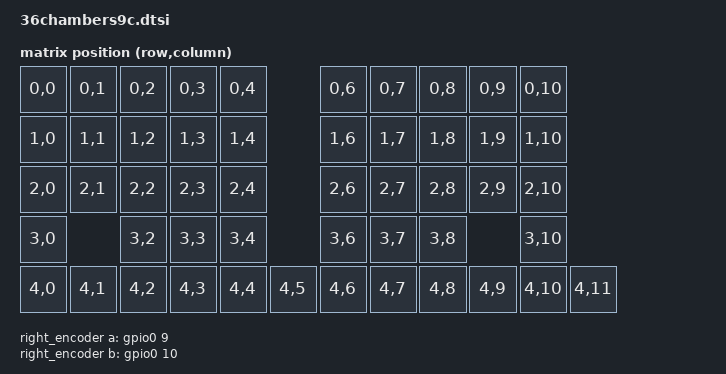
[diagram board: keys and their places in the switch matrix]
/*
 * Copyright (c) 2020 The ZMK Contributors
 *
 * SPDX-License-Identifier: MIT
 */

#include <dt-bindings/zmk/matrix_transform.h>

/ {
	chosen {
		zmk,kscan = &kscan0;
		zmk,matrix_transform = &default_transform;
	};

	default_transform: keymap_transform_0 {
		compatible = "zmk,matrix-transform";
		columns = <12>;
        
		rows = <5>;
// | SW1  | SW2  | SW3  | SW4  | SW5  |   | SW5  | SW4  | SW3  | SW2  | SW1  |
// | SW6  | SW7  | SW8  | SW9  | SW10 |   | SW10 | SW9  | SW8  | SW7  | SW6  |
// | SW11 | SW12 | SW13 | SW14 | SW15 |   | SW15 | SW14 | SW13 | SW12 | SW11 |
// | SW16 |      |      | SW17 | SW18 |   | SW19 | SW19 | SW18 |      | SW16 |
// | U3A  | U3CT | U3C  | U3B  | U3D  |   | SW24 | SW23 | SW22 | SW21 | SW20 |
		map = <
RC(0,0) RC(0,1) RC(0,2) RC(0,3) RC(0,4)          RC(0,6) RC(0,7) RC(0,8) RC(0,9) RC(0,10)
RC(1,0) RC(1,1) RC(1,2) RC(1,3) RC(1,4)          RC(1,6) RC(1,7) RC(1,8) RC(1,9) RC(1,10)
RC(2,0) RC(2,1) RC(2,2) RC(2,3) RC(2,4)          RC(2,6) RC(2,7) RC(2,8) RC(2,9) RC(2,10)
RC(3,0)         RC(3,2) RC(3,3) RC(3,4)          RC(3,6) RC(3,7) RC(3,8)         RC(3,10)
RC(4,0) RC(4,1) RC(4,2) RC(4,3) RC(4,4) RC(4,5)  RC(4,6) RC(4,7) RC(4,8) RC(4,9) RC(4,10) RC(4,11)
		>;
	};
    // kscan0: kscan {
    //     compatible = "zmk,kscan-gpio-matrix";
    //     diode-direction = "col2row";
    // col-gpios
    //     = <&xiao_d 10 GPIO_ACTIVE_HIGH>  //Col0
    //     , <&xiao_d 9 GPIO_ACTIVE_HIGH>   //Col1
    //     , <&xiao_d 8 GPIO_ACTIVE_HIGH>   //Col2
    //     , <&xiao_d 7 GPIO_ACTIVE_HIGH>   //Col3
    //     , <&xiao_d 5 GPIO_ACTIVE_HIGH> //Col4
    //     , <&xiao_d 6 GPIO_ACTIVE_HIGH> //Col5
    //     ;
	// row-gpios
    // 	= <&xiao_d 0 (GPIO_ACTIVE_HIGH | GPIO_PULL_DOWN)>//Row0
    //     , <&xiao_d 1 (GPIO_ACTIVE_HIGH | GPIO_PULL_DOWN)>//Row1
    //     , <&xiao_d 2 (GPIO_ACTIVE_HIGH | GPIO_PULL_DOWN)>//Row2
    //     , <&xiao_d 3 (GPIO_ACTIVE_HIGH | GPIO_PULL_DOWN)>//Row3
    //     , <&xiao_d 4 (GPIO_ACTIVE_HIGH | GPIO_PULL_DOWN)>//Row4
    //     ;
    // };

    sensors: sensors {
        compatible = "zmk,keymap-sensors";
        sensors = <&right_encoder>;
        triggers-per-rotation = <20>;
    };

    right_encoder: encoder_right {
        compatible = "alps,ec11";
    a-gpios = <&gpio0 9 (GPIO_ACTIVE_HIGH | GPIO_PULL_UP)>;
    b-gpios = <&gpio0 10  (GPIO_ACTIVE_HIGH | GPIO_PULL_UP)>;
        steps = <80>;
        status = "disabled";
    };
};
